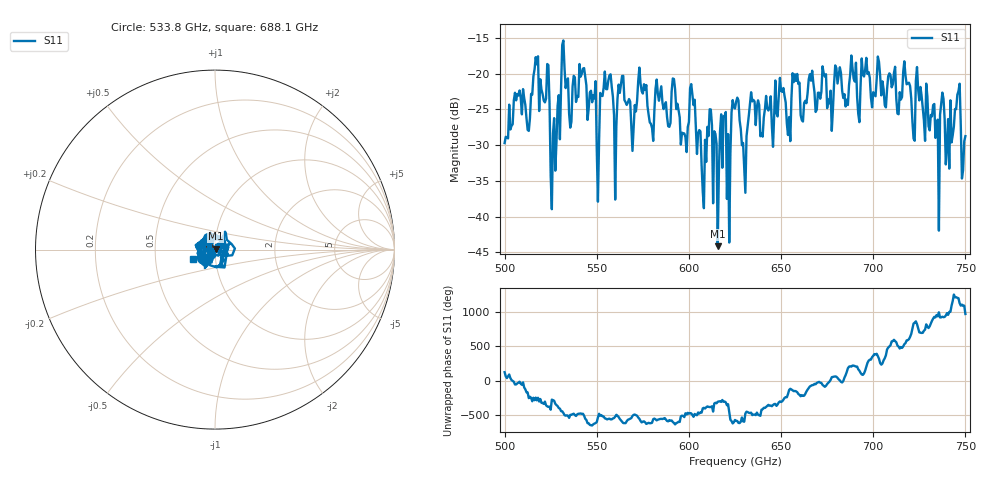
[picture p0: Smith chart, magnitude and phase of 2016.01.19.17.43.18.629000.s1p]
!Created with skrf (http://scikit-rf.org).
# GHz S RI R 50.0
!freq ReS11 ImS11
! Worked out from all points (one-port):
!   401 points, 500 GHz to 750 GHz, reference 50 ohm
!   lowest |S11| = -44.2 dB at 615.6 GHz (marker M1), VSWR 1.01, Z = 50.4 + j0.502 ohm
!   |S11| at or under -10 dB: start of sweep to end of sweep
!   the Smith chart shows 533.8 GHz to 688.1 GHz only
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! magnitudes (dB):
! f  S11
! 500 GHz  -29.7
! 506.9 GHz  -22.8
! 513.1 GHz  -28.0
! 516.9 GHz  -17.7
! 523.1 GHz  -18.6
! 526.2 GHz  -28.4
! 531.2 GHz  -16.0
! 541.9 GHz  -20.0
! 551.2 GHz  -29.5
! 553.1 GHz  -23.1
! 560 GHz  -37.6
! 562.5 GHz  -22.7
! 593.8 GHz  -24.2
! 601.9 GHz  -22.9
! 608.1 GHz  -38.8
! 611.2 GHz  -25.0
! 615.6 GHz  -44.2
! 618.8 GHz  -26.0
! 621.9 GHz  -43.6
! 625 GHz  -24.9
! 630 GHz  -33.3
! 634.4 GHz  -23.9
! 656.2 GHz  -19.9
! 687.5 GHz  -20.1
! 718.8 GHz  -21.3
! 735 GHz  -26.4
! 745.6 GHz  -22.9
! 750 GHz  -28.7
